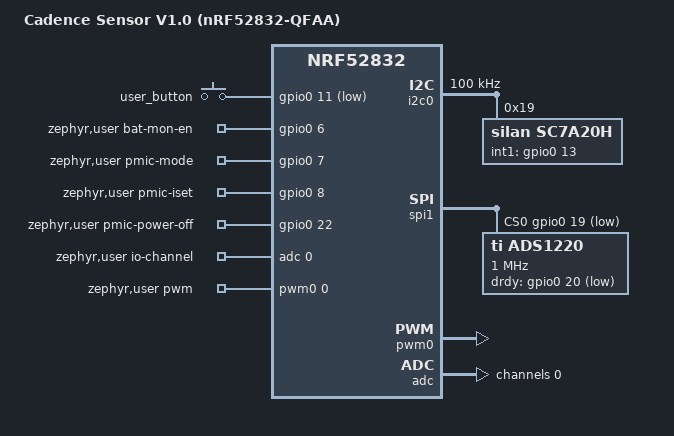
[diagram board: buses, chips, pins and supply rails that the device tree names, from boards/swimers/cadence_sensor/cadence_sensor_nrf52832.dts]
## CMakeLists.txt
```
cmake_minimum_required(VERSION 3.20.0)
list(APPEND BOARD_ROOT ${CMAKE_CURRENT_SOURCE_DIR})
list(APPEND DTS_ROOT ${CMAKE_CURRENT_SOURCE_DIR})
if(NOT DEFINED BOARD)
    set(BOARD cadence_sensor/nrf52832 CACHE STRING "Target board")
endif()
find_package(Zephyr REQUIRED HINTS $ENV{ZEPHYR_BASE})
file(STRINGS "${ZEPHYR_NRF_MODULE_DIR}/VERSION" cadence_sdk_version LIMIT_COUNT 1)
if(NOT cadence_sdk_version STREQUAL "3.2.4")
    message(FATAL_ERROR "CadenceSensor requires NCS 3.2.4")
endif()

project(nRF52832_CadanceSensor)

target_include_directories(app PRIVATE ${CMAKE_CURRENT_SOURCE_DIR}/src)

target_sources(app PRIVATE
    src/main.c
    src/app/ble_csc.c
    src/app/ble_dfu.c
    src/app/battery.c
    src/app/cadence_estimator.c
    src/app/sc7a20h_app.c
    src/drivers/sc7a20h.c
)
```

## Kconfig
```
# SPDX-License-Identifier: Apache-2.0

source "Kconfig.zephyr"

# NCS 3.2.4's NUS UART does not advertise itself as a serial console driver.
config UART_BT
	select SERIAL_HAS_DRIVER
```

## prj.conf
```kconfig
# Cycling Speed and Cadence GATT notifications.
CONFIG_BT=y
CONFIG_BT_PERIPHERAL=y
CONFIG_BT_LL_SOFTDEVICE=y
CONFIG_BT_DEVICE_NAME="CadenceSensor"
CONFIG_BT_DEVICE_APPEARANCE=1155
CONFIG_BT_MAX_CONN=1

# Request a 15 to 30 ms interval. The central determines the final parameters.
CONFIG_BT_PERIPHERAL_PREF_MIN_INT=12
CONFIG_BT_PERIPHERAL_PREF_MAX_INT=24
CONFIG_BT_PERIPHERAL_PREF_LATENCY=0
CONFIG_BT_PERIPHERAL_PREF_TIMEOUT=400

CONFIG_CONSOLE=n
CONFIG_PRINTK=n
CONFIG_BOOT_BANNER=n
CONFIG_NCS_BOOT_BANNER=n

# The sysbuild bootchain signs and links this application into slot0.
CONFIG_BOOTLOADER_MCUBOOT=y

# Board peripherals for the current hardware revision.
CONFIG_I2C=y
CONFIG_SPI=y
CONFIG_ADC=y
CONFIG_PWM=y
CONFIG_INPUT=y
```

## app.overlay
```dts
&{/zephyr,user} {
	/* Measured on this board: BAT+ 4.02 V, switched divider supply 3.53 V. */
	bat-mon-switch-drop-mv = <490>;
};

&bt_hci_sdc {
	status = "okay";
};
```

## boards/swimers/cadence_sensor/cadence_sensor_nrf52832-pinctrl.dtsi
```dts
/* SPDX-License-Identifier: Apache-2.0 */

#include <zephyr/dt-bindings/pinctrl/nrf-pinctrl.h>

&pinctrl {
	i2c0_default: i2c0_default {
		group1 {
			psels = <NRF_PSEL(TWIM_SDA, 0, 14)>,
				<NRF_PSEL(TWIM_SCL, 0, 15)>;
		};
	};

	i2c0_sleep: i2c0_sleep {
		group1 {
			psels = <NRF_PSEL(TWIM_SDA, 0, 14)>,
				<NRF_PSEL(TWIM_SCL, 0, 15)>;
			low-power-enable;
		};
	};

	spi1_default: spi1_default {
		group1 {
			psels = <NRF_PSEL(SPIM_SCK, 0, 16)>,
				<NRF_PSEL(SPIM_MOSI, 0, 17)>,
				<NRF_PSEL(SPIM_MISO, 0, 18)>;
		};
	};

	spi1_sleep: spi1_sleep {
		group1 {
			psels = <NRF_PSEL(SPIM_SCK, 0, 16)>,
				<NRF_PSEL(SPIM_MOSI, 0, 17)>,
				<NRF_PSEL(SPIM_MISO, 0, 18)>;
			low-power-enable;
		};
	};

	pwm0_default: pwm0_default {
		group1 {
			psels = <NRF_PSEL(PWM_OUT0, 0, 23)>;
		};
	};

	pwm0_sleep: pwm0_sleep {
		group1 {
			psels = <NRF_PSEL(PWM_OUT0, 0, 23)>;
			low-power-enable;
		};
	};
};
```

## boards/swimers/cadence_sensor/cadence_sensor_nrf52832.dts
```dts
/* SPDX-License-Identifier: Apache-2.0 */

/dts-v1/;

#include <nordic/nrf52832_qfaa.dtsi>
#include <zephyr/dt-bindings/adc/adc.h>
#include <zephyr/dt-bindings/gpio/gpio.h>
#include <zephyr/dt-bindings/i2c/i2c.h>
#include <zephyr/dt-bindings/input/input-event-codes.h>
#include <zephyr/dt-bindings/pwm/pwm.h>
#include "cadence_sensor_nrf52832-pinctrl.dtsi"
#include "cadence_sensor_partitions.dtsi"

/ {
	model = "Cadence Sensor V1.0 (nRF52832-QFAA)";
	compatible = "swimers,cadence-sensor";

	chosen {
		zephyr,sram = &sram0;
		zephyr,flash = &flash0;
		zephyr,code-partition = &slot0_partition;
		zephyr,boot-mode = &boot_mode0;
	};

	aliases {
		sw0 = &user_button;
		mcuboot-button0 = &user_button;
		accel0 = &sc7a20h;
	};

	buttons {
		compatible = "gpio-keys";

		user_button: user-button {
			gpios = <&gpio0 11 (GPIO_PULL_UP | GPIO_ACTIVE_LOW)>;
			zephyr,code = <INPUT_KEY_0>;
		};
	};

	zephyr,user {
		io-channels = <&adc 0>;
		bat-mon-full-ohms = <1720000>;
		bat-mon-output-ohms = <220000>;
		bat-mon-en-gpios = <&gpio0 6 GPIO_ACTIVE_HIGH>;
		/* MODE and ISET retain raw level flags. */
		pmic-mode-gpios = <&gpio0 7 0>;
		pmic-iset-gpios = <&gpio0 8 0>;
		pmic-power-off-gpios = <&gpio0 22 GPIO_ACTIVE_HIGH>;

		pwms = <&pwm0 0 PWM_USEC(250) PWM_POLARITY_NORMAL>;
	};
};

&gpio0 {
	status = "okay";
};

&gpiote {
	status = "okay";
};

&uicr {
	gpio-as-nreset;
};

&i2c0 {
	status = "okay";
	clock-frequency = <I2C_BITRATE_STANDARD>;
	pinctrl-0 = <&i2c0_default>;
	pinctrl-1 = <&i2c0_sleep>;
	pinctrl-names = "default", "sleep";

	sc7a20h: accelerometer@19 {
		compatible = "silan,sc7a20h";
		reg = <0x19>;
		int1-gpios = <&gpio0 13 GPIO_ACTIVE_HIGH>;
	};
};

&spi1 {
	compatible = "nordic,nrf-spim";
	status = "okay";
	cs-gpios = <&gpio0 19 GPIO_ACTIVE_LOW>;
	pinctrl-0 = <&spi1_default>;
	pinctrl-1 = <&spi1_sleep>;
	pinctrl-names = "default", "sleep";

	ads1220: adc@0 {
		compatible = "ti,ads1220";
		reg = <0>;
		spi-max-frequency = <DT_FREQ_M(1)>;
		spi-cpha;
		drdy-gpios = <&gpio0 20 GPIO_ACTIVE_LOW>;
	};
};

&pwm0 {
	status = "okay";
	pinctrl-0 = <&pwm0_default>;
	pinctrl-1 = <&pwm0_sleep>;
	pinctrl-names = "default", "sleep";
};

&adc {
	status = "okay";
	#address-cells = <1>;
	#size-cells = <0>;

	channel@0 {
		reg = <0>;
		zephyr,gain = "ADC_GAIN_1_2";
		zephyr,reference = "ADC_REF_INTERNAL";
		zephyr,acquisition-time = <ADC_ACQ_TIME(ADC_ACQ_TIME_MICROSECONDS, 40)>;
		zephyr,input-positive = <NRF_SAADC_AIN0>;
		zephyr,resolution = <12>;
	};
};
```

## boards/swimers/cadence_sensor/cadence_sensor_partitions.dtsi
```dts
/* Stable OTA layout: slot1 is a resident Loader, never a staging slot. */
&flash0 {
	partitions {
		/* Supported by both ANT's NCS 3.2.4 and the original NCS 3.4.1. */
		compatible = "fixed-partitions";
		#address-cells = <1>;
		#size-cells = <1>;
		boot_partition: partition@0 {
			label = "mcuboot";
			reg = <0x00000 0x10000>;
		};
		slot0_partition: partition@10000 {
			label = "image-0";
			reg = <0x10000 0x3c000>;
		};
		slot1_partition: partition@4c000 {
			label = "image-1";
			reg = <0x4c000 0x30000>;
		};
		storage_partition: partition@7c000 {
			label = "storage";
			reg = <0x7c000 0x4000>;
		};
	};
};

&gpregret1 {
	status = "okay";
	boot_mode0: boot_mode@0 {
		compatible = "zephyr,retention";
		status = "okay";
		reg = <0 1>;
	};
};
```

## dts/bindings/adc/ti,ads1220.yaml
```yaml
description: TI ADS1220 24-bit SPI ADC
compatible: "ti,ads1220"
include: spi-device.yaml
properties:
  drdy-gpios:
    type: phandle-array
    description: Active-low DRDY output
```

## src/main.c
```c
#include <errno.h>
#include <zephyr/drivers/pwm.h>
#include <zephyr/kernel.h>

#include "app/battery.h"
#include "app/ble_csc.h"
#include "app/sc7a20h_app.h"

#define LOW_BATTERY_PERCENT 20
#define SHUTDOWN_BATTERY_PERCENT 10

static const struct pwm_dt_spec buzzer = PWM_DT_SPEC_GET(DT_PATH(zephyr_user));
K_TIMER_DEFINE(battery_timer, NULL, NULL);

static void beep(unsigned int count, int duration_ms)
{
	if (!pwm_is_ready_dt(&buzzer)) {
		return;
	}

	for (unsigned int i = 0; i < count; i++) {
		if (i != 0) {
			k_msleep(100);
		}
		if (pwm_set_pulse_dt(&buzzer, buzzer.period / 2U) != 0) {
			return;
		}
		k_msleep(duration_ms);
		if (pwm_set_pulse_dt(&buzzer, 0) != 0) {
			return;
		}
	}
}

static int sample_battery(bool *ready)
{
	if (!*ready) {
		*ready = battery_init() == 0;
	}
	return *ready ? battery_sample() : -ENODEV;
}

static void indicate_battery(int percent, bool power_on)
{
	if (percent > 0 && percent < SHUTDOWN_BATTERY_PERCENT) {
		beep(1, 400);
		(void)battery_request_power_off();
	} else if (percent > 0 && percent < LOW_BATTERY_PERCENT) {
		beep(3, 100);
	} else if (power_on) {
		beep(2, 100);
	}
}

int main(void)
{
	bool battery_ready = false;

	k_timer_start(&battery_timer, K_MINUTES(1), K_MINUTES(1));
	int percent = sample_battery(&battery_ready);
	int err = ble_csc_start();

	if (err == 0) {
		sc7a20h_app_start();
	}
	indicate_battery(percent, true);

	for (;;) {
		k_timer_status_sync(&battery_timer);
		percent = sample_battery(&battery_ready);
		indicate_battery(percent, false);
	}
}
```
